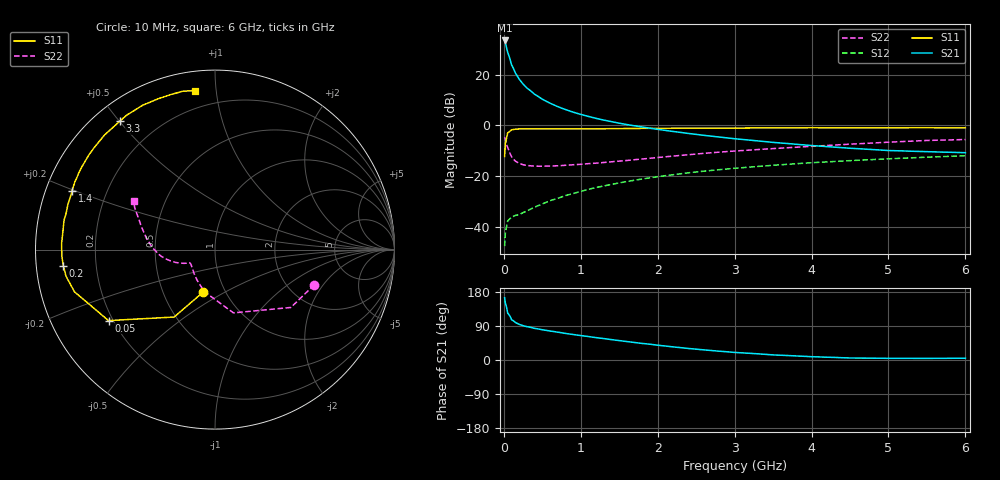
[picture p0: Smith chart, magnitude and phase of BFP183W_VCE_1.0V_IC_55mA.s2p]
! Infineon Technologies  Discrete & RF Semiconductors
! BFP183W
! VCE =  1.0 V,  IC =  55 mA
! Common Emitter S-Parameters:  Jan 2017
# GHz  S  MA  R  50
!  f  S11  S21  S12  S22
! GHz  MAG  ANG  MAG  ANG  MAG  ANG  MAG  ANG
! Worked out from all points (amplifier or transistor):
!   77 points, 10 MHz to 6 GHz, reference 50 ohm
!   highest |S21| = 33.4 dB at 10 MHz (marker M1)
!   |S21| within 3 dB of that: start of sweep to 36.36 MHz
!   unconditionally stable (mu >= 1): start of sweep to 16.63 MHz; 205.4 MHz to end of sweep
!   at 130 MHz: K = 0.72, MSG = 28.9 dB, |S12| = -35.7 dB
!   at 2.2 GHz: K = 1.46, MAG = 4.5 dB, |S12| = -19.4 dB
!   at 6 GHz: K = 1.43, MAG = -3.3 dB, |S12| = -12.0 dB
!   S11 on the Smith chart (normalised r, x): 10 MHz: 0.79, -0.40; 50 MHz: 0.18, -0.29; 200 MHz: 0.08, -0.05; 1.4 GHz: 0.08, +0.20; 3.3 GHz: 0.07, +0.50; 6 GHz: 0.10, +0.88
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0.01  0.2451 -105.5  46.89 164.3  0.0042 69.6  0.587 -19.5
0.02  0.4391 -121.2  42.11 149.7  0.0076 62.1  0.5318 -37.3
0.05  0.7132 -146.3  27.36 123.5  0.0131 40.7  0.3674 -73.7
0.1  0.8177 -163.3  15.62 106.3  0.0156 34.3  0.2425 -103.9
0.15  0.8433 -169.9  10.73 99.0  0.0169 37.0  0.1979 -120.2
0.2  0.8501 -174.0  8.113 94.1  0.0175 40.5  0.179 -130.0
0.25  0.8533 -176.8  6.512 90.6  0.0192 42.3  0.1681 -136.9
0.3  0.8539 -178.9  5.436 88.0  0.0207 46.1  0.1626 -141.5
0.4  0.8555 177.8  4.096 83.5  0.0246 52.1  0.158 -147.0
0.5  0.8535 175.1  3.274 79.8  0.0284 55.7  0.1571 -149.9
0.6  0.8536 172.7  2.736 76.5  0.033 59.0  0.1588 -152.0
0.7  0.855 170.7  2.343 73.5  0.0366 61.3  0.1603 -153.0
0.9  0.854 166.8  1.822 67.3  0.0455 63.4  0.168 -153.9
1.1  0.8574 163.1  1.499 61.9  0.0552 64.7  0.1767 -154.7
1.4  0.8611 157.7  1.185 53.8  0.069 64.9  0.1923 -156.6
1.7  0.8681 152.2  0.979 46.2  0.0834 64.1  0.2114 -159.3
2.1  0.8757 145.2  0.796 36.9  0.1023 61.6  0.2408 -163.6
3.1  0.8873 129.4  0.529 18.8  0.1471 53.5  0.3199 -176.5
3.3  0.8905 126.4  0.495 16.3  0.1555 51.9  0.3343 -179.3
4.1  0.8985 115.4  0.392 8.1  0.1877 44.8  0.3946 169.0
5.1  0.8981 105.0  0.317 4.4  0.223 36.2  0.4745 155.9
6  0.893 97.1  0.29 4.7  0.2526 28.6  0.527 148.9
